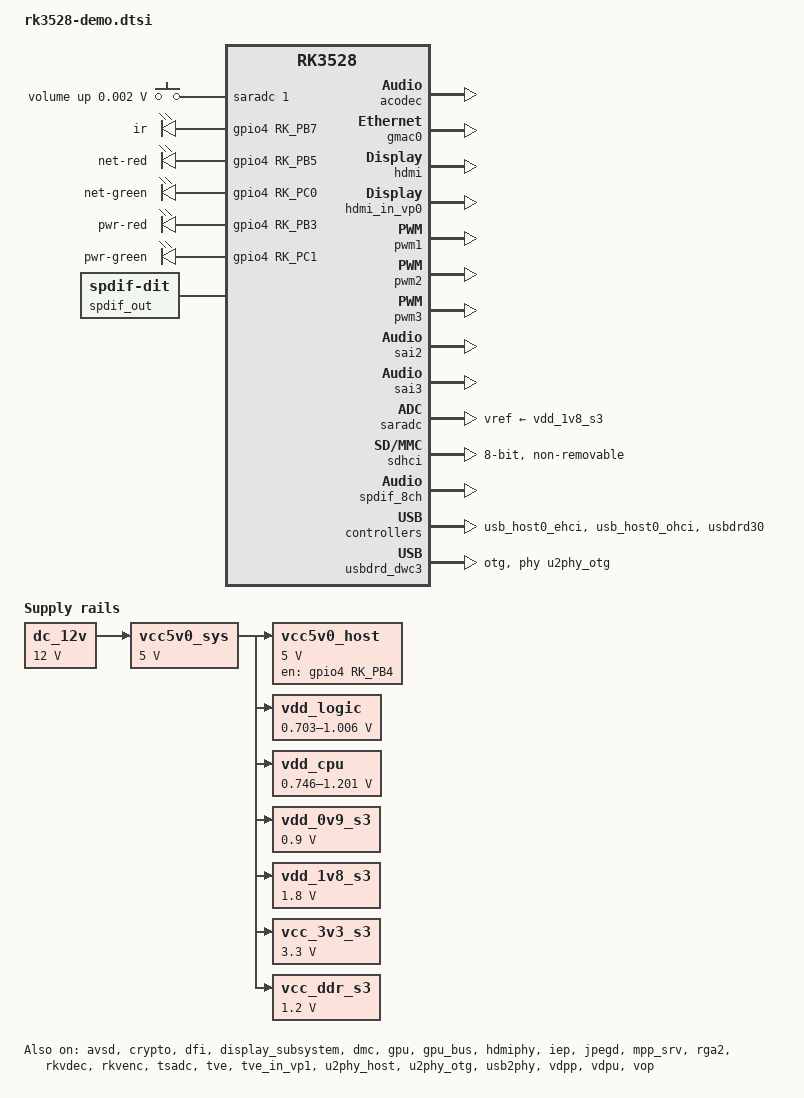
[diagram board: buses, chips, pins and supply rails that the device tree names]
// SPDX-License-Identifier: (GPL-2.0+ OR MIT)
/*
 * Copyright (c) 2022 Rockchip Electronics Co., Ltd.
 *
 */

#include "rk3528.dtsi"
#include <dt-bindings/gpio/gpio.h>
#include <dt-bindings/input/rk-input.h>
#include <dt-bindings/pinctrl/rockchip.h>
#include "rk-stb-ir-keymap.dtsi"

/ {
	acodec_sound: acodec-sound {
		status = "okay";
		compatible = "simple-audio-card";
		simple-audio-card,name = "rk3528-acodec";
		simple-audio-card,format = "i2s";
		simple-audio-card,mclk-fs = <256>;
		simple-audio-card,cpu {
			sound-dai = <&sai2>;
		};
		simple-audio-card,codec {
			sound-dai = <&acodec>;
		};
	};

	adc_keys: adc-keys {
		status = "okay";
		compatible = "adc-keys";
		io-channels = <&saradc 1>;
		io-channel-names = "buttons";
		keyup-threshold-microvolt = <1800000>;
		poll-interval = <100>;

		vol-up-key {
			label = "volume up";
			linux,code = <KEY_VOLUMEUP>;
			press-threshold-microvolt = <1750>;
		};
	};

	bt_sco: bt-sco {
		status = "disabled";
		compatible = "delta,dfbmcs320";
		#sound-dai-cells = <1>;
	};

	bt_sound: bt-sound {
		status = "disabled";
		compatible = "simple-audio-card";
		simple-audio-card,format = "dsp_a";
		simple-audio-card,bitclock-inversion = <0>;
		simple-audio-card,mclk-fs = <256>;
		simple-audio-card,name = "rockchip,bt";
		simple-audio-card,cpu {
			sound-dai = <&sai0>;
		};
		simple-audio-card,codec {
			sound-dai = <&bt_sco 1>;
		};
	};

	dc_12v: dc-12v {
		compatible = "regulator-fixed";
		regulator-name = "dc_12v";
		regulator-always-on;
		regulator-boot-on;
		regulator-min-microvolt = <12000000>;
		regulator-max-microvolt = <12000000>;
	};

	leds: gpio-leds {
		compatible = "gpio-leds";
		ir {
			gpios = <&gpio4 RK_PB7 GPIO_ACTIVE_HIGH>;
			linux,default-trigger = "none";
			default-state = "off";
		};
		net-red {
			gpios = <&gpio4 RK_PB5 GPIO_ACTIVE_HIGH>;
			linux,default-trigger = "none";
			default-state = "off";
		};
		net-green {
			gpios = <&gpio4 RK_PC0 GPIO_ACTIVE_HIGH>;
			linux,default-trigger = "none";
			default-state = "off";
		};
		pwr-red {
			gpios = <&gpio4 RK_PB3 GPIO_ACTIVE_HIGH>;
			linux,default-trigger = "none";
			default-state = "off";
			retain-state-suspended;
			retain-state-shutdown;
		};
		pwr-green {
			gpios = <&gpio4 RK_PC1 GPIO_ACTIVE_HIGH>;
			linux,default-trigger = "none";
			default-state = "on";
			retain-state-suspended;
			retain-state-shutdown;
		};
	};

	hdmi_sound: hdmi-sound {
		compatible = "rockchip,hdmi";
		rockchip,mclk-fs = <128>;
		rockchip,card-name = "rockchip,hdmi";
		rockchip,cpu = <&sai3>;
		rockchip,codec = <&hdmi>;
		rockchip,jack-det;
	};

	pdmics: dummy-codec {
		status = "disabled";
		compatible = "rockchip,dummy-codec";
		#sound-dai-cells = <0>;
	};

	pdm_mic_array: pdm-mic-array {
		status = "disabled";
		compatible = "simple-audio-card";
		simple-audio-card,name = "rockchip,pdm-mic-array";
		simple-audio-card,cpu {
			sound-dai = <&pdm>;
		};
		simple-audio-card,codec {
			sound-dai = <&pdmics>;
		};
	};

	spdif-sound {
		status = "okay";
		compatible = "simple-audio-card";
		simple-audio-card,name = "ROCKCHIP,SPDIF";
		simple-audio-card,cpu {
			sound-dai = <&spdif_8ch>;
		};
		simple-audio-card,codec {
			sound-dai = <&spdif_out>;
		};
	};

	spdif_out: spdif-out {
		status = "okay";
		compatible = "linux,spdif-dit";
		#sound-dai-cells = <0>;
	};

	vcc5v0_sys: vcc5v0-sys {
		compatible = "regulator-fixed";
		regulator-name = "vcc5v0_sys";
		regulator-always-on;
		regulator-boot-on;
		regulator-min-microvolt = <5000000>;
		regulator-max-microvolt = <5000000>;
		vin-supply = <&dc_12v>;
	};

	vcc5v0_host: vcc5v0-host-regulator {
		compatible = "regulator-fixed";
		regulator-name = "vcc5v0_host";
		regulator-boot-on;
		regulator-always-on;
		regulator-min-microvolt = <5000000>;
		regulator-max-microvolt = <5000000>;
		enable-active-high;
		gpio = <&gpio4 RK_PB4 GPIO_ACTIVE_HIGH>;
		vin-supply = <&vcc5v0_sys>;
		pinctrl-names = "default";
		pinctrl-0 = <&vcc5v0_host_en>;
	};

	vdd_logic: vdd-logic {
		compatible = "pwm-regulator";
		pwms = <&pwm2 0 5000 1>;
		regulator-name = "vdd_logic";
		regulator-min-microvolt = <703000>;
		regulator-max-microvolt = <1006000>;
		regulator-init-microvolt = <900000>;
		regulator-always-on;
		regulator-boot-on;
		regulator-settling-time-up-us = <250>;
		pwm-supply = <&vcc5v0_sys>;
		status = "okay";
	};

	vdd_cpu: vdd-cpu {
		compatible = "pwm-regulator";
		pwms = <&pwm1 0 5000 1>;
		regulator-name = "vdd_cpu";
		regulator-min-microvolt = <746000>;
		regulator-max-microvolt = <1201000>;
		regulator-init-microvolt = <953000>;
		regulator-always-on;
		regulator-boot-on;
		regulator-settling-time-up-us = <250>;
		pwm-supply = <&vcc5v0_sys>;
		status = "okay";
	};

	vdd_0v9_s3: vdd-0v9-s3 {
		compatible = "regulator-fixed";
		regulator-name = "vdd_0v9_s3";
		regulator-always-on;
		regulator-boot-on;
		regulator-min-microvolt = <900000>;
		regulator-max-microvolt = <900000>;
		vin-supply = <&vcc5v0_sys>;
	};

	vdd_1v8_s3: vdd-1v8-s3 {
		compatible = "regulator-fixed";
		regulator-name = "vdd_1v8_s3";
		regulator-always-on;
		regulator-boot-on;
		regulator-min-microvolt = <1800000>;
		regulator-max-microvolt = <1800000>;
		vin-supply = <&vcc5v0_sys>;
	};

	vcc_3v3_s3: vcc-3v3-s3 {
		compatible = "regulator-fixed";
		regulator-name = "vcc_3v3_s3";
		regulator-always-on;
		regulator-boot-on;
		regulator-min-microvolt = <3300000>;
		regulator-max-microvolt = <3300000>;
		vin-supply = <&vcc5v0_sys>;
	};

	vcc_ddr_s3: vcc-ddr-s3 {
		compatible = "regulator-fixed";
		regulator-name = "vcc_ddr_s3";
		regulator-always-on;
		regulator-boot-on;
		regulator-min-microvolt = <1200000>;
		regulator-max-microvolt = <1200000>;
		vin-supply = <&vcc5v0_sys>;
	};
};

&acodec {
	pa-ctl-gpios = <&gpio0 RK_PA0 GPIO_ACTIVE_HIGH>;
	status = "okay";
};

&avsd {
	status = "okay";
};

&cpu0 {
	cpu-supply = <&vdd_cpu>;
};

&crypto {
	status = "okay";
};

&dfi {
	status = "okay";
};

&display_subsystem {
	status = "okay";
};

&dmc {
	center-supply = <&vdd_logic>;
	status = "okay";
};

&gmac0 {
	status = "okay";
};

&gpu {
	mali-supply = <&vdd_logic>;
	status = "okay";
};

&gpu_bus {
	bus-supply = <&vdd_logic>;
	status = "okay";
};

&hdmi {
	status = "okay";
};

&hdmi_in_vp0 {
	status = "okay";
};

&hdmiphy {
	status = "okay";
};

&iep {
	status = "okay";
};

&iep_mmu {
	status = "okay";
};

&jpegd {
	status = "okay";
};

&jpegd_mmu {
	status = "okay";
};

&mpp_srv {
	status = "okay";
};

&pinctrl {
	usb {
		vcc5v0_host_en: vcc5v0-host-en {
			rockchip,pins = <4 RK_PB4 RK_FUNC_GPIO &pcfg_pull_none>;
		};
	};
};

&pwm1 {
	status = "okay";
};

&pwm2 {
	status = "okay";
};

&pwm3 {
	compatible = "rockchip,remotectl-pwm";
	pinctrl-names = "default";
	pinctrl-0 = <&pwm3m0_pins>;
	remote_pwm_id = <3>;
	handle_cpu_id = <1>;
	remote_support_psci = <0>;
	status = "okay";
};

&rga2 {
	status = "okay";
};

&rga2_mmu {
	status = "okay";
};

&rkvdec {
	status = "okay";
};

&rkvdec_mmu {
	status = "okay";
};

&rkvenc {
	status = "okay";
};

&rkvenc_mmu {
	status = "okay";
};

&rmii0_phy {
	/delete-property/ pinctrl-names;
	/delete-property/ pinctrl-0;
};

&rockchip_suspend {
	status = "okay";
	rockchip,sleep-debug-en = <1>;
	rockchip,virtual-poweroff = <1>;
	rockchip,sleep-mode-config = <
		(0
		| RKPM_SLP_ARMPD
		)
	>;
	rockchip,wakeup-config = <
		(0
		| RKPM_CPU0_WKUP_EN
		| RKPM_GPIO_WKUP_EN
		)
	>;
	rockchip,pwm-regulator-config = <
		(0
		| RKPM_PWM1_M0_REGULATOR_EN
		)
	>;
};

&sai0 {
	pinctrl-0 = <&i2s0m0_lrck &i2s0m0_sclk &i2s0m0_sdi &i2s0m0_sdo>;
	status = "disabled";
};

&sai2 {
	status = "okay";
};

&sai3 {
	status = "okay";
};

&saradc {
	status = "okay";
	vref-supply = <&vdd_1v8_s3>;
};

&sdhci {
	bus-width = <8>;
	supports-emmc;
	non-removable;
	mmc-hs400-1_8v;
	mmc-hs400-enhanced-strobe;
	max-frequency = <200000000>;
	fixed-emmc-driver-type = <4>;
	status = "okay";
};

&spdif_8ch {
	status = "okay";
};

&tsadc {
	status = "okay";
};

&tve {
	status = "okay";
};

&tve_in_vp1 {
	status = "okay";
};

&u2phy_host {
	phy-supply = <&vcc5v0_host>;
	status = "okay";
};

&u2phy_otg {
	phy-supply = <&vcc5v0_host>;
	status = "okay";
};

&usb2phy {
	status = "okay";
};

&usb_host0_ehci {
	status = "okay";
};

&usb_host0_ohci {
	status = "okay";
};

&usbdrd30 {
	status = "okay";
};

&usbdrd_dwc3 {
	dr_mode = "otg";
	maximum-speed = "high-speed";
	extcon = <&usb2phy>;
	phys = <&u2phy_otg>;
	phy-names = "usb2-phy";
	snps,dis_u2_susphy_quirk;
	snps,usb2-lpm-disable;
	status = "okay";
};

&vdpp {
	status = "okay";
};

&vdpu {
	status = "okay";
};

&vdpu_mmu {
	status = "okay";
};

&vop {
	status = "okay";
};

&vop_mmu {
	status = "okay";
};
